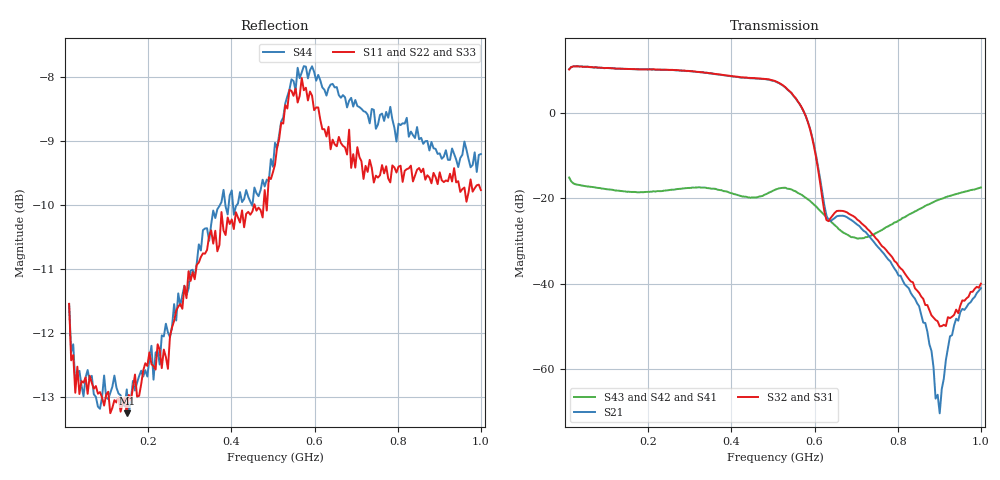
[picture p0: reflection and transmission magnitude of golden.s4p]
!Created with skrf (http://scikit-rf.org).
# Hz S RI R 50.0
!freq ReS11 ImS11 ReS12 ImS12 ReS13 ImS13
! ReS14 ImS14
! ReS21 ImS21 ReS22 ImS22 ReS23 ImS23
! ReS24 ImS24
! ReS31 ImS31 ReS32 ImS32 ReS33 ImS33
! ReS34 ImS34
! ReS41 ImS41 ReS42 ImS42 ReS43 ImS43
! ReS44 ImS44
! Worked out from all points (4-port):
!   201 points, 10 MHz to 1 GHz, reference 50 ohm
!   strongest paths, dB at 10 MHz, 257.5 MHz, 505 MHz, 752.5 MHz, 1 GHz:
!     S32: 10.2, 10.1, 7.5, -29.9, -40.0
!     S31: 10.2, 10.1, 7.5, -29.9, -40.0
!     S21: 10.3, 10.1, 7.4, -31.4, -41.1
!     S43: -15.1, -18.0, -18.0, -27.9, -17.5
!     S42: -15.1, -18.0, -18.0, -27.9, -17.5
!     S41: -15.1, -18.0, -18.0, -27.9, -17.5
!   lowest |S11| = -13.2 dB at 148.6 MHz (marker M1), VSWR 1.56, Z = 35.9 + j12.6 ohm
!   |S11| at or under -10 dB: start of sweep to 455 MHz; 456.1 MHz to 477.6 MHz (21.51 MHz wide, 4.61 % of centre); 483.8434 MHz to 486.0358 MHz (2.192 MHz wide, 0.452 % of centre)
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1e7  -0.2526 0.0793  -0.0131 -0.015  0.0131 0.0158  0.1694 -0.0523
     3.012 1.233  -0.2526 0.0793  0.0131 0.0158  0.1694 -0.0523
     -2.994 -1.23  -2.994 -1.23  -0.2526 0.0793  0.1694 -0.0523
     0.1692 -0.0466  0.1692 -0.0466  0.1692 -0.0466  -0.2453 0.0995
1.486e8  -0.1395 0.167  -0.000419 0.0242  0.00198 -0.0242  0.1112 -0.0459
         -0.593 -3.232  -0.1395 0.167  0.00198 -0.0242  0.1112 -0.0459
         0.419 3.253  0.419 3.253  -0.1395 0.167  0.1112 -0.0459
         0.1088 -0.0484  0.1088 -0.0484  0.1088 -0.0484  -0.1513 0.1693
2.575e8  -0.0732 0.2431  0.0227 0.00711  -0.0221 -0.00888  0.1056 -0.0668
         -3.193 -0.1174  -0.0732 0.2431  -0.0221 -0.00888  0.1056 -0.0668
         3.183 0.3298  3.183 0.3298  -0.0732 0.2431  0.1056 -0.0668
         0.1064 -0.0674  0.1064 -0.0674  0.1064 -0.0674  -0.0926 0.2369
3.565e8  0.0359 0.2928  0.0111 -0.0194  -0.0135 0.0179  0.0752 -0.1043
         -0.5232 2.842  0.0359 0.2928  -0.0135 0.0179  0.0752 -0.1043
         0.8622 -2.751  0.8622 -2.751  0.0359 0.2928  0.0752 -0.1043
         0.0732 -0.1064  0.0732 -0.1064  0.0732 -0.1064  0.0237 0.3122
4.5055e8  0.1593 0.2688  -0.0154 -0.0133  0.013 0.0155  0.0485 -0.0915
          2.461 0.662  0.1593 0.2688  0.013 0.0155  0.0485 -0.0915
          -2.33 -1.074  -2.33 -1.074  0.1593 0.2688  0.0485 -0.0915
          0.0488 -0.0898  0.0488 -0.0898  0.0488 -0.0898  0.1464 0.2798
5.149e8  0.2134 0.2848  -0.0129 0.0121  0.0153 -0.00985  0.0377 -0.124
         0.7978 -2.086  0.2134 0.2848  0.0153 -0.00985  0.0377 -0.124
         -1.169 1.916  -1.169 1.916  0.2134 0.2848  0.0377 -0.124
         0.0413 -0.1239  0.0413 -0.1239  0.0413 -0.1239  0.2096 0.2908
1e9  0.3067 -0.1069  0.000369 0.000169  -0.000149 -0.000189  0.0441 -0.1292
     -0.00868 -0.00168  0.3067 -0.1069  -0.000149 -0.000189  0.0441 -0.1292
     0.00799 0.00597  0.00799 0.00597  0.3067 -0.1069  0.0441 -0.1292
     0.0464 -0.1254  0.0464 -0.1254  0.0464 -0.1254  0.3334 -0.0945
